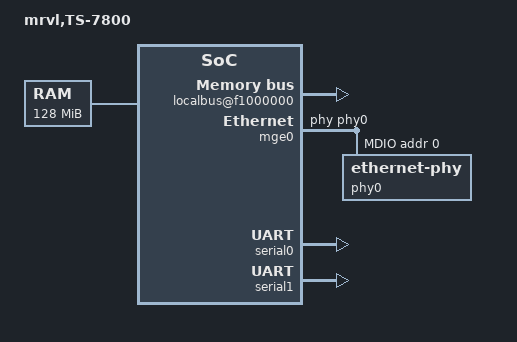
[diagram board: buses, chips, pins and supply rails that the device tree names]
/*
 * Copyright (c) 2010 The FreeBSD Foundation
 * All rights reserved.
 *
 * Redistribution and use in source and binary forms, with or without
 * modification, are permitted provided that the following conditions
 * are met:
 * 1. Redistributions of source code must retain the above copyright
 *    notice, this list of conditions and the following disclaimer.
 * 2. Redistributions in binary form must reproduce the above copyright
 *    notice, this list of conditions and the following disclaimer in the
 *    documentation and/or other materials provided with the distribution.
 *
 * THIS SOFTWARE IS PROVIDED BY THE AUTHOR AND CONTRIBUTORS ``AS IS'' AND
 * ANY EXPRESS OR IMPLIED WARRANTIES, INCLUDING, BUT NOT LIMITED TO, THE
 * IMPLIED WARRANTIES OF MERCHANTABILITY AND FITNESS FOR A PARTICULAR PURPOSE
 * ARE DISCLAIMED. IN NO EVENT SHALL THE AUTHOR OR CONTRIBUTORS BE LIABLE
 * FOR ANY DIRECT, INDIRECT, INCIDENTAL, SPECIAL, EXEMPLARY, OR CONSEQUENTIAL
 * DAMAGES (INCLUDING, BUT NOT LIMITED TO, PROCUREMENT OF SUBSTITUTE GOODS
 * OR SERVICES; LOSS OF USE, DATA, OR PROFITS; OR BUSINESS INTERRUPTION)
 * HOWEVER CAUSED AND ON ANY THEORY OF LIABILITY, WHETHER IN CONTRACT, STRICT
 * LIABILITY, OR TORT (INCLUDING NEGLIGENCE OR OTHERWISE) ARISING IN ANY WAY
 * OUT OF THE USE OF THIS SOFTWARE, EVEN IF ADVISED OF THE POSSIBILITY OF
 * SUCH DAMAGE.
 *
 * Technologic Systems TS-7800 Device Tree Source.
 *
 * $FreeBSD$
 */

/dts-v1/;

/ {
	model = "mrvl,TS-7800";
	compatible = "DB-88F5182-BP", "DB-88F5182-BP-A";
	#address-cells = <1>;
	#size-cells = <1>;

	aliases {
		ethernet0 = &mge0;
		serial0 = &serial0;
		serial1 = &serial1;
		mpp = &MPP;
	};

	cpus {
		#address-cells = <1>;
		#size-cells = <0>;

		cpu@0 {
			device_type = "cpu";
			compatible = "ARM,88FR531";
			reg = <0x0>;
			d-cache-line-size = <32>;	// 32 bytes
			i-cache-line-size = <32>;	// 32 bytes
			d-cache-size = <0x8000>;	// L1, 32K
			i-cache-size = <0x8000>;	// L1, 32K
			timebase-frequency = <0>;
			bus-frequency = <0>;
			clock-frequency = <0>;
		};
	};

	memory {
		device_type = "memory";
		reg = <0x0 0x08000000>;		// 128M at 0x0
	};

	localbus@f1000000 {
		#address-cells = <2>;
		#size-cells = <1>;
		compatible = "mrvl,lbc";

		/* This reflects CPU decode windows setup. */
		ranges = <0x0 0x0f 0xf9300000 0x00100000
			  0x1 0x1e 0xfa000000 0x00100000
			  0x2 0x1d 0xfa100000 0x02000000>;
	};

	soc88f5182@f1000000 {
		#address-cells = <1>;
		#size-cells = <1>;
		compatible = "simple-bus";
		ranges = <0x0 0xf1000000 0x00100000>;
		bus-frequency = <0>;

		PIC: pic@20200 {
			interrupt-controller;
			#address-cells = <0>;
			#interrupt-cells = <1>;
			reg = <0x20200 0x3c>;
			compatible = "mrvl,pic";
		};

		timer@20300 {
			compatible = "mrvl,timer";
			reg = <0x20300 0x30>;
			interrupts = <0>;
			interrupt-parent = <&PIC>;
			mrvl,has-wdt;
		};

		MPP: mpp@10000 {
			#pin-cells = <2>;
			compatible = "mrvl,mpp";
			reg = <0x10000 0x54>;
			pin-count = <20>;
			pin-map = <
				16 0		/* MPP[16]: UA1_RXD */
				17 0		/* MPP[17]: UA1_TXD */
				19 0 >;		/* MPP[19]: UA1_RTS */
		};

		mge0: ethernet@72000 {
			#address-cells = <1>;
			#size-cells = <1>;
			model = "V1";
			compatible = "mrvl,ge";
			reg = <0x72000 0x2000>;
			ranges = <0x0 0x72000 0x2000>;
			local-mac-address = [ 00 00 00 00 00 00 ];
			interrupts = <18 19 20 21 22>;
			interrupt-parent = <&PIC>;

			phy-handle = <&phy0>;

			mdio@0 {
				#address-cells = <1>;
				#size-cells = <0>;
				compatible = "mrvl,mdio";

				phy0: ethernet-phy@0 {
					reg = <0x0>;
				};
			};
		};

		serial0: serial@12000 {
			compatible = "ns16550";
			reg = <0x12000 0x20>;
			reg-shift = <2>;
			clock-frequency = <0>;
			interrupts = <3>;
			interrupt-parent = <&PIC>;
		};

		serial1: serial@12100 {
			compatible = "ns16550";
			reg = <0x12100 0x20>;
			reg-shift = <2>;
			clock-frequency = <0>;
			interrupts = <4>;
			interrupt-parent = <&PIC>;
		};
	};

	chosen {
		stdin = "serial0";
		stdout = "serial0";
	};
};
